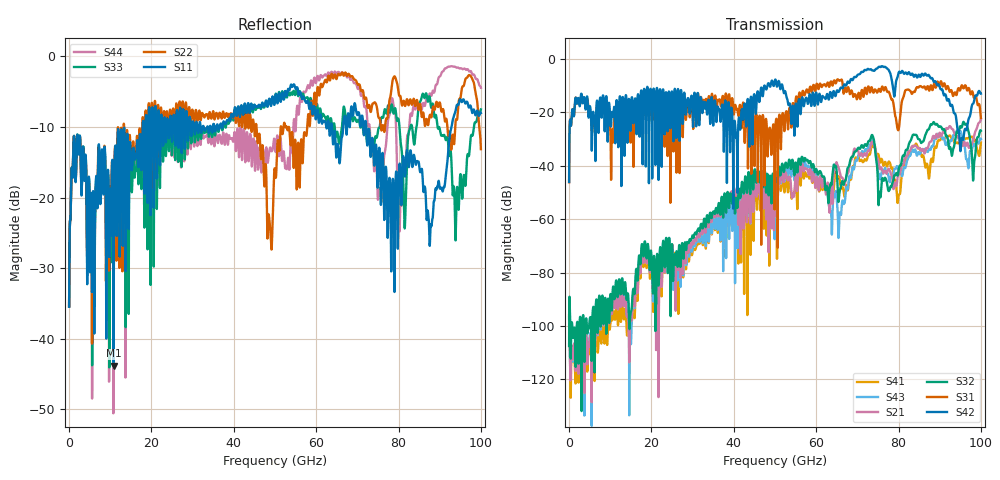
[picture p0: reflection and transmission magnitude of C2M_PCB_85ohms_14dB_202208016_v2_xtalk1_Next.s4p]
! Info: Touchstone file created by Circ.  Input file=Intel_C2M_200G_3p5in_202208016_staggered.circ
# Hz S RI R 50
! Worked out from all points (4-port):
!   10000 points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, 10 MHz to 100 GHz, reference 50 ohm
!   strongest paths, dB at 10 MHz, 25.01 GHz, 50.01 GHz, 75.01 GHz, 100 GHz:
!     S42: -46.1, -12.3, -7.9, -3.3, -13.0
!     S31: -46.2, -14.3, -32.4, -11.9, -22.1
!     S32: -107.5, -69.4, -45.3, -47.3, -26.9
!     S21: -96.6, -69.9, -47.3, -37.6, -22.6
!     S43: -97.0, -69.6, -52.7, -42.0, -30.0
!     S41: -96.0, -69.4, -52.0, -35.6, -31.3
!   lowest |S11| = -43.8 dB at 10.82 GHz (marker M1), VSWR 1.01, Z = 49.6 - j0.519 ohm
!   |S11| at or under -10 dB: start of sweep to 17.88 GHz; 63.84 GHz to 66.56 GHz (2.725 GHz wide, 4.18 % of centre); 72.18 GHz to 92.88 GHz (20.7 GHz wide, 25.1 % of centre)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
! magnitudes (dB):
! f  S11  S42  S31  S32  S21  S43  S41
! 10 MHz  -35.5  -46.1  -46.2  -107.5  -96.6  -97.0  -96.0
! 1.93 GHz  -11.5  -16.7  -16.7  -98.9  -103.8  -103.5  -107.4
! 10.82 GHz  -43.8  -19.5  -26.6  -85.9  -90.8  -89.0  -94.5
! 44.72 GHz  -7.5  -17.0  -20.3  -48.9  -57.3  -51.8  -55.4
! 76.29 GHz  -15.4  -3.0  -11.2  -45.4  -42.9  -42.8  -39.8
! 95.3 GHz  -6.4  -30.1  -10.0  -25.7  -31.1  -28.3  -30.5
! 100 GHz  -8.0  -13.0  -22.1  -26.9  -22.6  -30.0  -31.3
